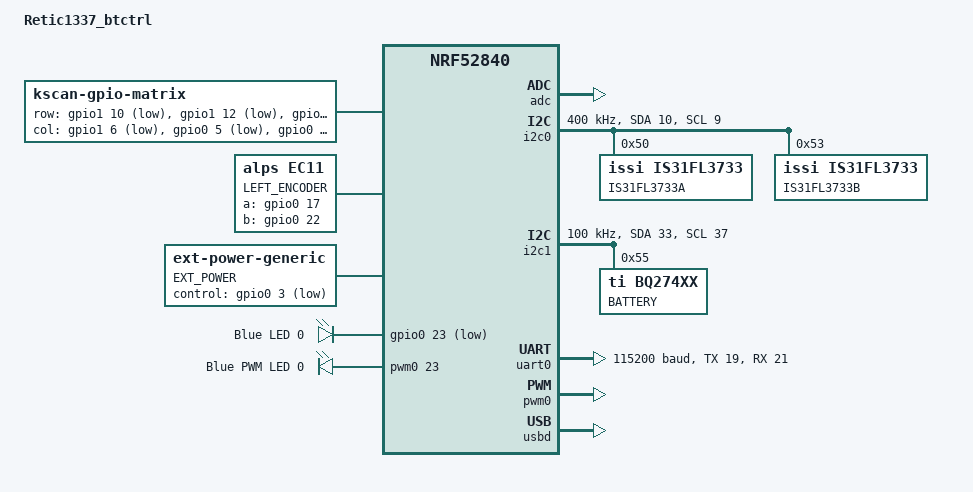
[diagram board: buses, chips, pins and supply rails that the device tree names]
/*
 * Cameron Banna 2020
 */

/dts-v1/;
#include <nordic/nrf52840_qiaa.dtsi>

/ {
	model = "Retic1337_btctrl";
	compatible = "nice,nano";

	chosen {
		zephyr,i2c0 = &i2c0;
		zephyr,i2c_0 = &i2c0;
		zephyr,i2c1 = &i2c1;
		zephyr,i2c_1 = &i2c1;
		zephyr,code-partition = &code_partition;
		zephyr,sram = &sram0;
		zephyr,flash = &flash0;
		zmk,kscan = &kscan0;

		
	};
  kscan0: kscan {
    compatible = "zmk,kscan-gpio-matrix";
    label = "KSCAN";

    diode-direction = "col2row";
    row-gpios
		= <&gpio1 10 (GPIO_ACTIVE_LOW | GPIO_PULL_UP)>
		, <&gpio1 12 (GPIO_ACTIVE_LOW | GPIO_PULL_UP)>
		, <&gpio1 15 (GPIO_ACTIVE_LOW | GPIO_PULL_UP)>
		, <&gpio1 13 (GPIO_ACTIVE_LOW | GPIO_PULL_UP)>
		, <&gpio1 14 (GPIO_ACTIVE_LOW | GPIO_PULL_UP)>
		, <&gpio1 11 (GPIO_ACTIVE_LOW | GPIO_PULL_UP)>
		;
    col-gpios
		= <&gpio1 6  (GPIO_ACTIVE_LOW)>
		, <&gpio0 5  (GPIO_ACTIVE_LOW)>
		, <&gpio0 4  (GPIO_ACTIVE_LOW)>
		, <&gpio0 29  (GPIO_ACTIVE_LOW)>
		, <&gpio0 28  (GPIO_ACTIVE_LOW)>
		, <&gpio0 7  (GPIO_ACTIVE_LOW)>
		, <&gpio1 8  (GPIO_ACTIVE_LOW)>
		, <&gpio0 15  (GPIO_ACTIVE_LOW)>
		, <&gpio1 2  (GPIO_ACTIVE_LOW)>
		, <&gpio0 8  (GPIO_ACTIVE_LOW)>
		, <&gpio0 6  (GPIO_ACTIVE_LOW)>
		, <&gpio0 31  (GPIO_ACTIVE_LOW)>
		, <&gpio0 30  (GPIO_ACTIVE_LOW)>
		, <&gpio1 3  (GPIO_ACTIVE_LOW)>
		, <&gpio1 4  (GPIO_ACTIVE_LOW)>
		, <&gpio0 25  (GPIO_ACTIVE_LOW)>
      	;
  };
left_encoder: encoder_left {
	compatible = "alps,ec11";
	label = "LEFT_ENCODER";
	a-gpios = <&gpio0 17 (GPIO_ACTIVE_HIGH | GPIO_PULL_UP)>;
	b-gpios = <&gpio0 22 (GPIO_ACTIVE_HIGH | GPIO_PULL_UP)>;
	resolution = <4>;
};
sensors {
	compatible = "zmk,keymap-sensors";
	sensors = <&left_encoder>;
};
ext-power {
	compatible = "zmk,ext-power-generic";
	label = "EXT_POWER";
	control-gpios = <&gpio0 3 (GPIO_ACTIVE_LOW | GPIO_PULL_DOWN)>;
};
leds {
	compatible = "gpio-leds";
	led0_blue: led_0 {
		gpios = <&gpio0 23 GPIO_ACTIVE_LOW>;
		label = "Blue LED 0";
	};																																																																																																																																																																																																																																																																																																																																																																																																																																																																																																																																																										
};

pwmleds {
	compatible = "pwm-leds";
	pwm_led0_blue: pwm_led_0 {
		pwms = <&pwm0 23>;
		label = "Blue PWM LED 0";
	};
};
/* These aliases are provided for compatibility with samples */
aliases {
	led0 = &led0_blue;
	led0-blue = &led0_blue;
	pwm-led0 = &pwm_led0_blue;
	blue-pwm-led = &pwm_led0_blue;
	i2c0 = &i2c0;
	i2c1 = &i2c1;
  };
};





&adc {
	status = "okay";
};

&gpiote {
	status = "okay";
};

&gpio0 {
	status = "okay";
};

&gpio1 {
	status = "okay";
};

&i2c0 {
	compatible = "nordic,nrf-twi";
	status = "okay";
	sda-pin = <10>;
	scl-pin = <9>;
	clock-frequency = < I2C_BITRATE_FAST >;
	is31fl3733a: is31fl3733@50 {
		compatible = "issi,is31fl3733";
		label = "IS31FL3733A";
		reg = <0x50>;
	};
	is31fl3733b: is31fl3733@53 {
		compatible = "issi,is31fl3733";
		label = "IS31FL3733B";
		reg = <0x53>;
	};

};

&i2c1 {
	compatible = "nordic,nrf-twi";
	status = "okay";
	sda-pin = <33>;
	scl-pin = <37>;
	clock-frequency = < I2C_BITRATE_STANDARD >;
	bq27441@55 {
		compatible = "ti,bq274xx";
		label = "BATTERY";
		reg = <0x55>;
		design-voltage = <3700>;
		design-capacity = <450>;
		taper-current = <45>;
		terminate-voltage = <3000>;
	};
};
&uart0 {
	compatible = "nordic,nrf-uarte";
	status = "okay";
	current-speed = <115200>;
	tx-pin = <19>;
	rx-pin = <21>;
};
&pwm0 {
	status = "okay";
	ch0-pin = <41>;
	ch0-inverted;
};
&flash0 {
	/*
	 * For more information, see:
	 * http://docs.zephyrproject.org/latest/devices/dts/flash_partitions.html
	 */
	partitions {
		compatible = "fixed-partitions";
		#address-cells = <1>;
		#size-cells = <1>;

		sd_partition: partition@0 {
			label = "softdevice";
			reg = <0x00000000 0x00026000>;
		};
		code_partition: partition@26000 {
			label = "code_partition";
			reg = <0x00026000 0x000c6000>;
		};

		/*
		 * The flash starting at 0x000ec000 and ending at
		 * 0x000f3fff is reserved for use by the application.
		 */

		/*
		 * Storage partition will be used by FCB/LittleFS/NVS
		 * if enabled.
		 */
		storage_partition: partition@ec000 {
			label = "storage";
			reg = <0x000ec000 0x00008000>;
		};

		boot_partition: partition@f4000 {
			label = "adafruit_boot";
			reg = <0x000f4000 0x0000c000>;
		};
	};
};

&usbd {
	compatible = "nordic,nrf-usbd";
	status = "okay";
};
